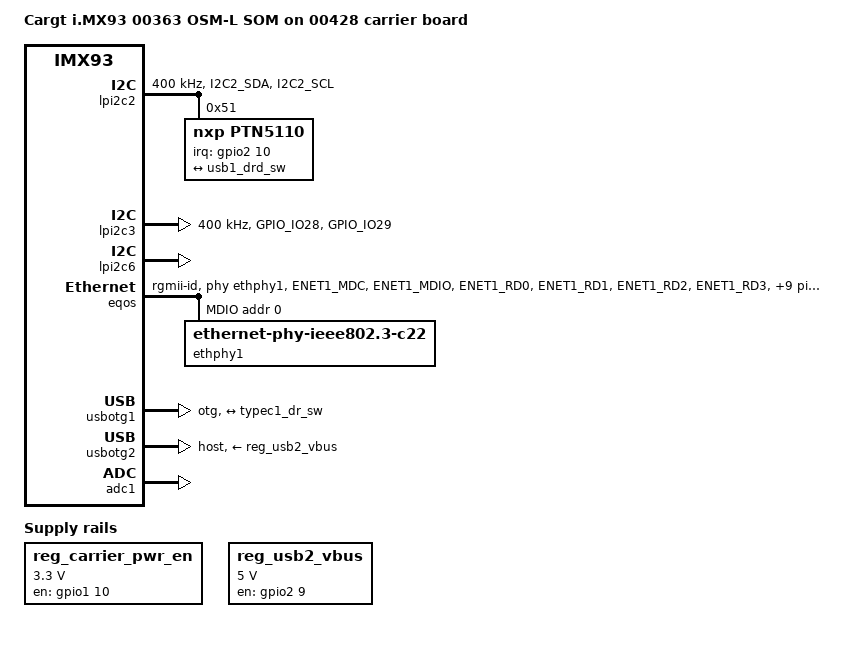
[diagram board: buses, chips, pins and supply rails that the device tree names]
// SPDX-License-Identifier: (GPL-2.0+ OR MIT)
/*
 * Copyright 2022 NXP
 */

 /dts-v1/;

 #include <dt-bindings/usb/pd.h>
 #include "imx93-cargt-00363-osm-som.dts"

 / {
	 model = "Cargt i.MX93 00363 OSM-L SOM on 00428 carrier board";

	 aliases {
		 rtc0 = &rtc_i2c;
		 rtc1 = &bbnsm_rtc;
	 };

	 reg_carrier_pwr_en: regulator-carrier-pwr-en {
		 compatible = "regulator-fixed";
		 pinctrl-names = "default";
		 pinctrl-0 = <&pinctrl_reg_carrer_pwr_en>;
		 regulator-name = "carrier-pwr-en";
		 regulator-min-microvolt = <3300000>;
		 regulator-max-microvolt = <3300000>;
		 gpio = <&gpio1 10 GPIO_ACTIVE_HIGH>;
		 off-on-delay-us = <12000>;
		 enable-active-high;
		 regulator-boot-on;
		 regulator-always-on;
	 };

	 reg_usb2_vbus: regulator-usb2-vbus {
		 pinctrl-names = "default";
		 pinctrl-0 = <&pinctrl_usb2_vbus>;
		 compatible = "regulator-fixed";
		 regulator-name = "USB2_VBUS_EN";
		 regulator-min-microvolt = <5000000>;
		 regulator-max-microvolt = <5000000>;
		 gpio = <&gpio2 9 GPIO_ACTIVE_HIGH>;
		 enable-active-high;
	 };
 };

 &lpi2c2 {
	 #address-cells = <1>;
	 #size-cells = <0>;
	 clock-frequency = <400000>;
	 pinctrl-names = "default", "sleep";
	 pinctrl-0 = <&pinctrl_lpi2c2>;
	 pinctrl-1 = <&pinctrl_lpi2c2>;
	 status = "okay";

	 ptn5110: tcpc@51 {
		 compatible = "nxp,ptn5110";
		 reg = <0x51>;
		 pinctrl-names = "default";
		 pinctrl-0 = <&pinctrl_ptn5110_51>;
		 interrupt-parent = <&gpio2>;
		 interrupts = <10 IRQ_TYPE_LEVEL_LOW>;
		 status = "okay";

		 port {
			 typec1_dr_sw: endpoint {
				 remote-endpoint = <&usb1_drd_sw>;
			 };
		 };

		 typec1_con: connector {
			 compatible = "usb-c-connector";
			 label = "USB-C";
			 power-role = "dual";
			 data-role = "dual";
			 try-power-role = "sink";
			 source-pdos = <PDO_FIXED(5000, 3000, PDO_FIXED_USB_COMM)>;
			 sink-pdos = <PDO_FIXED(5000, 3000, PDO_FIXED_USB_COMM)
					 PDO_VAR(5000, 20000, 3000)>;
			 op-sink-microwatt = <15000000>;
			 self-powered;
		 };
	 };
 };

 &lpi2c3 {
	 #address-cells = <1>;
	 #size-cells = <0>;
	 clock-frequency = <400000>;
	 pinctrl-names = "default", "sleep";
	 pinctrl-0 = <&pinctrl_lpi2c3>;
	 pinctrl-1 = <&pinctrl_lpi2c3>;
	 status = "okay";
  };

 &lpi2c6 {
	 status = "okay";
 };

 &eqos {
	 pinctrl-names = "default";
	 pinctrl-0 = <&pinctrl_eqos>, <&pinctrl_eth_rst>;
	 phy-mode = "rgmii-id";
	 phy-handle = <&ethphy1>;
	 snps,reset-gpios = <&gpio1 14 GPIO_ACTIVE_LOW>;
	 snps,reset-delays-us = <10 20 200000>;
	 status = "okay";

	 mdio {
		 compatible = "snps,dwmac-mdio";
		 #address-cells = <1>;
		 #size-cells = <0>;
		 clock-frequency = <5000000>;

		 ethphy1: ethernet-phy@0 {
			 compatible = "ethernet-phy-ieee802.3-c22";
			 reg = <0>;
			 eee-broken-1000t;
		 };
	 };
 };

 &usbotg1 {
	  dr_mode = "otg";
	  hnp-disable;
	  srp-disable;
	  adp-disable;
	  usb-role-switch;
	  disable-over-current;
	  samsung,picophy-pre-emp-curr-control = <3>;
	  samsung,picophy-dc-vol-level-adjust = <7>;
	  status = "okay";

	  port {
		  usb1_drd_sw: endpoint {
			  remote-endpoint = <&typec1_dr_sw>;
		  };
	  };
 };

 &usbotg2 {
	  dr_mode = "host";
	  disable-over-current;
	  vbus-supply = <&reg_usb2_vbus>;
	  samsung,picophy-pre-emp-curr-control = <3>;
	  samsung,picophy-dc-vol-level-adjust = <7>;
	  status = "okay";
 };

 &adc1 {
	 status = "okay";
 };

 &lcdif {
	 status = "disabled";
	 assigned-clock-rates = <445333333>, <148444444>, <400000000>, <133333333>;
 };

 &ldb {
	 status = "disabled";
 };

 &dphy {
	 status = "disabled";
 };

 &dsi {
	 status = "disabled";
 };

 &iomuxc {

	 pinctrl_eqos: eqosgrp {
		 fsl,pins = <
			 MX93_PAD_ENET1_MDC__ENET_QOS_MDC						0x57e
			 MX93_PAD_ENET1_MDIO__ENET_QOS_MDIO						0x57e
			 MX93_PAD_ENET1_RD0__ENET_QOS_RGMII_RD0					0x57e
			 MX93_PAD_ENET1_RD1__ENET_QOS_RGMII_RD1					0x57e
			 MX93_PAD_ENET1_RD2__ENET_QOS_RGMII_RD2					0x57e
			 MX93_PAD_ENET1_RD3__ENET_QOS_RGMII_RD3					0x57e
			 MX93_PAD_ENET1_RXC__CCM_ENET_QOS_CLOCK_GENERATE_RX_CLK	0x5fe
			 MX93_PAD_ENET1_RX_CTL__ENET_QOS_RGMII_RX_CTL			0x57e
			 MX93_PAD_ENET1_TD0__ENET_QOS_RGMII_TD0					0x57e
			 MX93_PAD_ENET1_TD1__ENET_QOS_RGMII_TD1					0x57e
			 MX93_PAD_ENET1_TD2__ENET_QOS_RGMII_TD2					0x57e
			 MX93_PAD_ENET1_TD3__ENET_QOS_RGMII_TD3					0x57e
			 MX93_PAD_ENET1_TXC__CCM_ENET_QOS_CLOCK_GENERATE_TX_CLK	0x5fe
			 MX93_PAD_ENET1_TX_CTL__ENET_QOS_RGMII_TX_CTL			0x57e
		 >;
	 };

	 pinctrl_eth_rst: ethrstgrp {
		 fsl,pins = <
			 MX93_PAD_SAI1_RXD0__GPIO1_IO14			0x31e /* ETH_A_RST */
		 >;
	 };

	 pinctrl_lpi2c2: lpi2c2grp {
		 fsl,pins = <
			 MX93_PAD_I2C2_SDA__LPI2C2_SDA			0x40000b9e
			 MX93_PAD_I2C2_SCL__LPI2C2_SCL			0x40000b9e
		 >;
	 };

	 pinctrl_lpi2c3: lpi2c3grp {
		 fsl,pins = <
			 MX93_PAD_GPIO_IO28__LPI2C3_SDA			0x40000b9e
			 MX93_PAD_GPIO_IO29__LPI2C3_SCL			0x40000b9e
		 >;
	 };

	 pinctrl_pca21: pca21grp {
		 fsl,pins = <
			 MX93_PAD_PDM_BIT_STREAM1__GPIO1_IO10 	0x31e
		 >;
	 };

	 pinctrl_ptn5110_51: ptn5110_51grp {
		 fsl,pins = <
			  MX93_PAD_GPIO_IO10__GPIO2_IO10			0x31e
		 >;
	  };

	  pinctrl_usb2_vbus: usb2vbusgrp {
		 fsl,pins = <
			 MX93_PAD_GPIO_IO09__GPIO2_IO09			0x31e /* USB2_VBUS_EN */
		 >;
	  };

	  pinctrl_reg_carrer_pwr_en: carrerpwrengrp {
		 fsl,pins = <
			 MX93_PAD_PDM_BIT_STREAM1__GPIO1_IO10		0x31e
		 >;
	 };

 };

